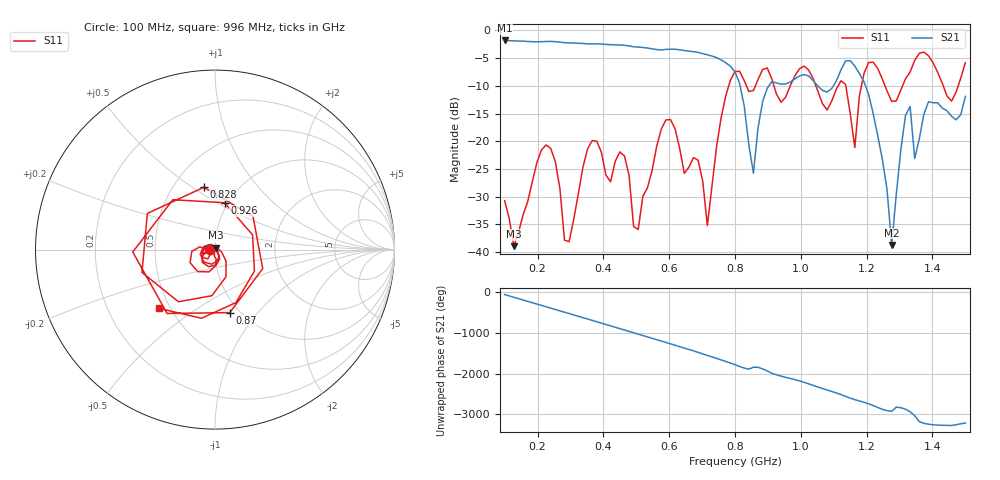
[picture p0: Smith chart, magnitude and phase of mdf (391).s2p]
! NanoVNA-App
! Date: 2025-09-25 15:41:28
! Start: 100MHz Stop: 1,5GHz Points: 101
! S-Parameter data: F S11 S21 S12 S22
# Hz S RI R 50
!  Frequency  S11_Real  S11_Imag  S21_Real  S21_Imag  S12_Real  S12_Imag  S22_Real  S22_Imag
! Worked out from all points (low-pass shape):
!   101 points, 100 MHz to 1.5 GHz, reference 50 ohm
!   highest |S21| = -1.80 dB at 100 MHz (marker M1); lowest = -38.7 dB at 1.276 GHz (marker M2)
!   |S21| within 3 dB of the highest: start of sweep to 739.1 MHz
!   lowest |S11| = -39.0 dB at 128 MHz (marker M3), VSWR 1.02, Z = 50.3 + j1.08 ohm
!   |S11| at or under -10 dB: start of sweep to 781 MHz; 1.046 GHz to 1.113 GHz (67.68 MHz wide, 6.27 % of centre); 1.256 GHz to 1.309 GHz (53.38 MHz wide, 4.16 % of centre) (the widest 3 of 7)
!   S12 and S22 are empty: the file has one direction only
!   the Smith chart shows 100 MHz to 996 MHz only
!   S11 on the Smith chart (normalised r, x): 100 MHz: 0.94, -0.01; 828 MHz: 0.70, +0.56; 870 MHz: 0.90, -0.73; 926 MHz: 0.96, +0.54; 996 MHz: 0.44, -0.36
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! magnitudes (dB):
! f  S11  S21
! 100 MHz  -30.8  -1.8
! 128 MHz  -39.0  -1.9
! 212 MHz  -21.6  -2.0
! 282 MHz  -37.9  -2.2
! 338 MHz  -24.7  -2.3
! 464 MHz  -22.7  -2.7
! 506 MHz  -35.9  -3.0
! 576 MHz  -17.8  -3.5
! 716 MHz  -35.2  -4.4
! 800 MHz  -7.4  -7.5
! 828 MHz  -9.1  -13.6
! 856 MHz  -10.9  -25.8
! 870 MHz  -8.9  -17.6
! 926 MHz  -11.5  -9.5
! 996 MHz  -6.9  -8.2
! 1.038 GHz  -8.8  -9.1
! 1.136 GHz  -9.7  -5.5
! 1.164 GHz  -21.2  -6.4
! 1.192 GHz  -7.7  -9.3
! 1.276 GHz  -12.8  -38.7
! 1.318 GHz  -8.7  -15.3
! 1.5 GHz  -5.8  -11.9
